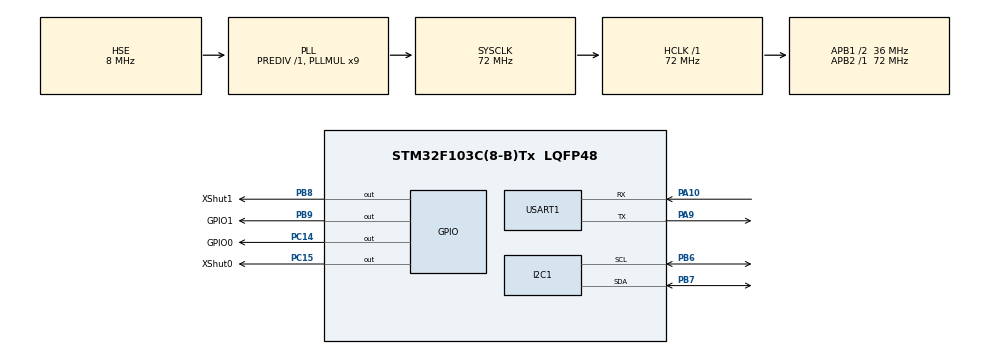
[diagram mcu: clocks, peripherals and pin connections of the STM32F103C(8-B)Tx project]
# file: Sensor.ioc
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Mcu.Family=STM32F1
Mcu.Name=STM32F103C(8-B)Tx
Mcu.Package=LQFP48
NVIC.PriorityGroup=NVIC_PRIORITYGROUP_4
PA10.Mode=Asynchronous
PA10.Signal=USART1_RX
PA13.Mode=Serial_Wire
PA13.Signal=SYS_JTMS-SWDIO
PA14.Mode=Serial_Wire
PA14.Signal=SYS_JTCK-SWCLK
PA9.Mode=Asynchronous
PA9.Signal=USART1_TX
PB6.Mode=I2C
PB6.Signal=I2C1_SCL
PB7.Mode=I2C
PB7.Signal=I2C1_SDA
PB8.GPIO_Label=XShut1
PB8.Signal=GPIO_Output
PB9.GPIO_Label=GPIO1
PB9.GPIO_Speed=GPIO_SPEED_FREQ_HIGH
PB9.PinState=GPIO_PIN_SET
PB9.Signal=GPIO_Output
PC14-OSC32_IN.GPIO_Label=GPIO0
PC14-OSC32_IN.GPIO_Speed=GPIO_SPEED_FREQ_HIGH
PC14-OSC32_IN.PinState=GPIO_PIN_SET
PC14-OSC32_IN.Signal=GPIO_Output
PC15-OSC32_OUT.GPIO_Label=XShut0
PC15-OSC32_OUT.Signal=GPIO_Output
PD0-OSC_IN.Mode=HSE-External-Oscillator
PD0-OSC_IN.Signal=RCC_OSC_IN
PD1-OSC_OUT.Mode=HSE-External-Oscillator
PD1-OSC_OUT.Signal=RCC_OSC_OUT
ProjectManager.HeapSize=0x200
ProjectManager.StackSize=0x400
ProjectManager.TargetToolchain=STM32CubeIDE
RCC.AHBFreq_Value=72000000
RCC.APB1CLKDivider=RCC_HCLK_DIV2
RCC.APB1Freq_Value=36000000
RCC.APB1TimFreq_Value=72000000
RCC.APB2Freq_Value=72000000
RCC.APB2TimFreq_Value=72000000
RCC.HCLKFreq_Value=72000000
RCC.PLLMUL=RCC_PLL_MUL9
RCC.PLLSourceVirtual=RCC_PLLSOURCE_HSE
RCC.SYSCLKFreq_VALUE=72000000
RCC.SYSCLKSource=RCC_SYSCLKSOURCE_PLLCLK
RCC.USBFreq_Value=72000000
USART1.VirtualMode=VM_ASYNC
board=custom

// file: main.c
/* USER CODE BEGIN Header */
/**
  ******************************************************************************
  * @file           : main.c
  * @brief          : Main program body
  ******************************************************************************
  * @attention
  *
  * Copyright (c) 2023 STMicroelectronics.
  * All rights reserved.
  *
  * This software is licensed under terms that can be found in the LICENSE file
  * in the root directory of this software component.
  * If no LICENSE file comes with this software, it is provided AS-IS.
  *
  ******************************************************************************
  */
/* USER CODE END Header */
#include "main.h"

/* USER CODE BEGIN Includes */
#include "vl53l1_api.h"
#include "stdint.h"
/* USER CODE END Includes */

/* USER CODE BEGIN PD */
#define VL53L1_ADDRESS 0x52
/* USER CODE END PD */

I2C_HandleTypeDef hi2c1;

UART_HandleTypeDef huart1;

/* USER CODE BEGIN PV */
uint8_t TxBuf[50]; //USART1 debug buffer

VL53L1_DEV vl53l1_c;
FixPoint1616_t signalLimit = 16384;    //Signal,related to reflected amplitude
//0.25*65536
FixPoint1616_t sigmaLimit = 1179648;     //Sigmal, related to distance mm
//18*65536

uint32_t timingBudget = 200000;         //When the ranging mode is set to timed ranging, user has to define the period of time
								//between two consecutive measurements.
uint8_t preRangeVcselPeriod = 14;  //VCSEL pulse cycle
uint8_t finalRangeVcselPeriod = 10;//VCSEL pulse cycle period
//high accuracy

uint32_t distance;
VL53L1_RangingMeasurementData_t result_data;

/* USER CODE END PV */

void SystemClock_Config(void);
static void MX_GPIO_Init(void);
static void MX_I2C1_Init(void);
static void MX_USART1_UART_Init(void);

/* USER CODE BEGIN 0 */
void vl53l1_Init(VL53L1_DEV pDev,uint8_t I2C_Addr, I2C_HandleTypeDef *I2CHandle)
{
	pDev->I2cDevAddr = I2C_Addr;
	pDev->I2cHandle = I2CHandle;
	pDev->comms_type=1;
	pDev->comms_speed_khz = 400;
	/*** VL53L1X Initialization ***/
	VL53L1_WaitDeviceBooted(pDev);
	HAL_Delay(2);
	VL53L1_DataInit(pDev);
	HAL_Delay(2);
	VL53L1_StaticInit(pDev);
	HAL_Delay(2);
	VL53L1_SetDistanceMode(pDev, VL53L1_DISTANCEMODE_LONG);
	HAL_Delay(2);
}
void vl53l1_ParamInit(VL53L1_DEV pDev,FixPoint1616_t sigmaLimit, FixPoint1616_t signalLimit,FixPoint1616_t timingBudget)
{
	VL53L1_SetLimitCheckEnable(pDev,VL53L1_CHECKENABLE_SIGMA_FINAL_RANGE,1);//sigma--standard deviation, enable SIGMA limit check

	VL53L1_SetLimitCheckEnable(pDev,VL53L1_CHECKENABLE_SIGNAL_RATE_FINAL_RANGE,1);//signal--amplitude of the signal-
																																													//-reflected. enable signal rate limit check
	HAL_Delay(2);
	VL53L1_SetLimitCheckValue(pDev,VL53L1_CHECKENABLE_SIGMA_FINAL_RANGE,sigmaLimit);//set SIGMA limit

	HAL_Delay(2);
	VL53L1_SetLimitCheckValue(pDev,VL53L1_CHECKENABLE_SIGNAL_RATE_FINAL_RANGE,signalLimit);//set signal rate limit

	VL53L1_SetMeasurementTimingBudgetMicroSeconds(pDev,timingBudget);//set the max interval for a whole diatance test

	HAL_Delay(2);
	VL53L1_SetInterMeasurementPeriodMilliSeconds(pDev, 300);

	HAL_Delay(2);
	VL53L1_StartMeasurement(pDev);
}
void getDistance(VL53L1_DEV pDev)
{
	 VL53L1_WaitMeasurementDataReady(pDev);
	 VL53L1_GetRangingMeasurementData(pDev, &result_data);
	 distance = result_data.RangeMilliMeter;
	 VL53L1_ClearInterruptAndStartMeasurement(pDev);
}

/* USER CODE END 0 */

int main(void)
{

  /* MCU Configuration--------------------------------------------------------*/

  /* Reset of all peripherals, Initializes the Flash interface and the Systick. */
  HAL_Init();

  /* Configure the system clock */
  SystemClock_Config();

  /* Initialize all configured peripherals */
  MX_GPIO_Init();
  MX_I2C1_Init();
  MX_USART1_UART_Init();
  /* USER CODE BEGIN 2 */
  /*GPIO setup vl53l1 init*/
  HAL_GPIO_WritePin(XShut1_GPIO_Port, XShut1_Pin, GPIO_PIN_RESET);
  HAL_Delay(2); // 2ms reset time
  HAL_GPIO_WritePin(XShut1_GPIO_Port, XShut1_Pin, GPIO_PIN_SET);
  HAL_Delay(2);
  /*GPIO setup vl53l1 init*/
  vl53l1_Init(vl53l1_c,VL53L1_ADDRESS,&hi2c1);
  vl53l1_ParamInit(vl53l1_c, sigmaLimit, signalLimit, timingBudget);
  /* USER CODE END 2 */

  /* Infinite loop */
  /* USER CODE BEGIN WHILE */
  while (1)
  {
	  getDistance(vl53l1_c);
	  //debug oled check distance value
	  memset(TxBuf,0,sizeof(TxBuf)); //clear buffer before write
	  sprintf((char*)TxBuf,"%lu",distance);
	  HAL_UART_Transmit(&huart1,TxBuf,sizeof(TxBuf), 10);
	  HAL_Delay(500);
	  //----- Phan code test debug UART gui den man hinh OLED -----
    /* USER CODE END WHILE */

  }
}

void SystemClock_Config(void)
{
  RCC_OscInitTypeDef RCC_OscInitStruct = {0};
  RCC_ClkInitTypeDef RCC_ClkInitStruct = {0};

  /** Initializes the RCC Oscillators according to the specified parameters
  * in the RCC_OscInitTypeDef structure.
  */
  RCC_OscInitStruct.OscillatorType = RCC_OSCILLATORTYPE_HSE;
  RCC_OscInitStruct.HSEState = RCC_HSE_ON;
  RCC_OscInitStruct.HSEPredivValue = RCC_HSE_PREDIV_DIV1;
  RCC_OscInitStruct.HSIState = RCC_HSI_ON;
  RCC_OscInitStruct.PLL.PLLState = RCC_PLL_ON;
  RCC_OscInitStruct.PLL.PLLSource = RCC_PLLSOURCE_HSE;
  RCC_OscInitStruct.PLL.PLLMUL = RCC_PLL_MUL9;
  if (HAL_RCC_OscConfig(&RCC_OscInitStruct) != HAL_OK)
  {
    Error_Handler();
  }

  /** Initializes the CPU, AHB and APB buses clocks
  */
  RCC_ClkInitStruct.ClockType = RCC_CLOCKTYPE_HCLK|RCC_CLOCKTYPE_SYSCLK
                              |RCC_CLOCKTYPE_PCLK1|RCC_CLOCKTYPE_PCLK2;
  RCC_ClkInitStruct.SYSCLKSource = RCC_SYSCLKSOURCE_PLLCLK;
  RCC_ClkInitStruct.AHBCLKDivider = RCC_SYSCLK_DIV1;
  RCC_ClkInitStruct.APB1CLKDivider = RCC_HCLK_DIV2;
  RCC_ClkInitStruct.APB2CLKDivider = RCC_HCLK_DIV1;

  if (HAL_RCC_ClockConfig(&RCC_ClkInitStruct, FLASH_LATENCY_2) != HAL_OK)
  {
    Error_Handler();
  }
}

static void MX_I2C1_Init(void)
{

  hi2c1.Instance = I2C1;
  hi2c1.Init.ClockSpeed = 100000;
  hi2c1.Init.DutyCycle = I2C_DUTYCYCLE_2;
  hi2c1.Init.OwnAddress1 = 0;
  hi2c1.Init.AddressingMode = I2C_ADDRESSINGMODE_7BIT;
  hi2c1.Init.DualAddressMode = I2C_DUALADDRESS_DISABLE;
  hi2c1.Init.OwnAddress2 = 0;
  hi2c1.Init.GeneralCallMode = I2C_GENERALCALL_DISABLE;
  hi2c1.Init.NoStretchMode = I2C_NOSTRETCH_DISABLE;
  if (HAL_I2C_Init(&hi2c1) != HAL_OK)
  {
    Error_Handler();
  }

}

static void MX_USART1_UART_Init(void)
{

  huart1.Instance = USART1;
  huart1.Init.BaudRate = 115200;
  huart1.Init.WordLength = UART_WORDLENGTH_8B;
  huart1.Init.StopBits = UART_STOPBITS_1;
  huart1.Init.Parity = UART_PARITY_NONE;
  huart1.Init.Mode = UART_MODE_TX_RX;
  huart1.Init.HwFlowCtl = UART_HWCONTROL_NONE;
  huart1.Init.OverSampling = UART_OVERSAMPLING_16;
  if (HAL_UART_Init(&huart1) != HAL_OK)
  {
    Error_Handler();
  }

}

static void MX_GPIO_Init(void)
{
  GPIO_InitTypeDef GPIO_InitStruct = {0};

  /* GPIO Ports Clock Enable */
  __HAL_RCC_GPIOC_CLK_ENABLE();
  __HAL_RCC_GPIOD_CLK_ENABLE();
  __HAL_RCC_GPIOA_CLK_ENABLE();
  __HAL_RCC_GPIOB_CLK_ENABLE();

  /*Configure GPIO pin Output Level */
  HAL_GPIO_WritePin(GPIO0_GPIO_Port, GPIO0_Pin, GPIO_PIN_SET);

  /*Configure GPIO pin Output Level */
  HAL_GPIO_WritePin(XShut0_GPIO_Port, XShut0_Pin, GPIO_PIN_RESET);

  /*Configure GPIO pin Output Level */
  HAL_GPIO_WritePin(XShut1_GPIO_Port, XShut1_Pin, GPIO_PIN_RESET);

  /*Configure GPIO pin Output Level */
  HAL_GPIO_WritePin(GPIO1_GPIO_Port, GPIO1_Pin, GPIO_PIN_SET);

  /*Configure GPIO pin : GPIO0_Pin */
  GPIO_InitStruct.Pin = GPIO0_Pin;
  GPIO_InitStruct.Mode = GPIO_MODE_OUTPUT_PP;
  GPIO_InitStruct.Pull = GPIO_NOPULL;
  GPIO_InitStruct.Speed = GPIO_SPEED_FREQ_HIGH;
  HAL_GPIO_Init(GPIO0_GPIO_Port, &GPIO_InitStruct);

  /*Configure GPIO pin : XShut0_Pin */
  GPIO_InitStruct.Pin = XShut0_Pin;
  GPIO_InitStruct.Mode = GPIO_MODE_OUTPUT_PP;
  GPIO_InitStruct.Pull = GPIO_NOPULL;
  GPIO_InitStruct.Speed = GPIO_SPEED_FREQ_LOW;
  HAL_GPIO_Init(XShut0_GPIO_Port, &GPIO_InitStruct);

  /*Configure GPIO pin : XShut1_Pin */
  GPIO_InitStruct.Pin = XShut1_Pin;
  GPIO_InitStruct.Mode = GPIO_MODE_OUTPUT_PP;
  GPIO_InitStruct.Pull = GPIO_NOPULL;
  GPIO_InitStruct.Speed = GPIO_SPEED_FREQ_LOW;
  HAL_GPIO_Init(XShut1_GPIO_Port, &GPIO_InitStruct);

  /*Configure GPIO pin : GPIO1_Pin */
  GPIO_InitStruct.Pin = GPIO1_Pin;
  GPIO_InitStruct.Mode = GPIO_MODE_OUTPUT_PP;
  GPIO_InitStruct.Pull = GPIO_NOPULL;
  GPIO_InitStruct.Speed = GPIO_SPEED_FREQ_HIGH;
  HAL_GPIO_Init(GPIO1_GPIO_Port, &GPIO_InitStruct);

}

void Error_Handler(void)
{
  __disable_irq();
  while (1)
  {
  }
}
